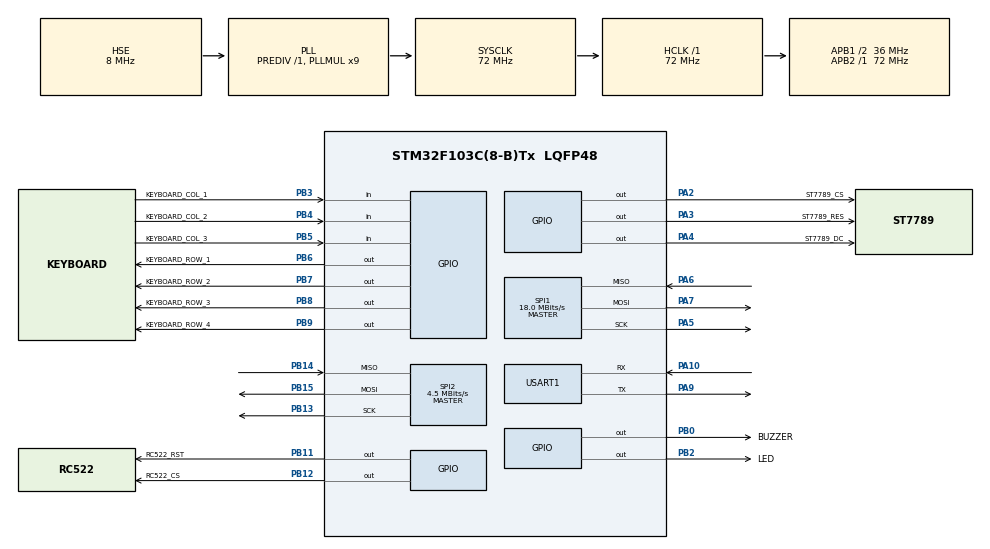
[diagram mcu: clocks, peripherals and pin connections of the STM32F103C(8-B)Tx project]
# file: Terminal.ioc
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FREERTOS.Tasks01=defaultTask,24,128,StartDefaultTask,Default,NULL,Dynamic,NULL,NULL
FREERTOS.configUSE_NEWLIB_REENTRANT=1
Mcu.Family=STM32F1
Mcu.Name=STM32F103C(8-B)Tx
Mcu.Package=LQFP48
NVIC.PriorityGroup=NVIC_PRIORITYGROUP_4
NVIC.TIM4_IRQn=true\:15\:0\:false\:false\:true\:false\:false\:true\:true
NVIC.TimeBase=TIM4_IRQn
NVIC.TimeBaseIP=TIM4
PA10.Mode=Asynchronous
PA10.Signal=USART1_RX
PA13.Mode=Serial_Wire
PA13.Signal=SYS_JTMS-SWDIO
PA14.Mode=Serial_Wire
PA14.Signal=SYS_JTCK-SWCLK
PA2.GPIO_Label=ST7789_CS
PA2.Signal=GPIO_Output
PA3.GPIO_Label=ST7789_RES
PA3.Signal=GPIO_Output
PA4.GPIO_Label=ST7789_DC
PA4.Signal=GPIO_Output
PA5.Mode=Full_Duplex_Master
PA5.Signal=SPI1_SCK
PA6.Mode=Full_Duplex_Master
PA6.Signal=SPI1_MISO
PA7.Mode=Full_Duplex_Master
PA7.Signal=SPI1_MOSI
PA9.Mode=Asynchronous
PA9.Signal=USART1_TX
PB0.GPIO_Label=BUZZER
PB0.GPIO_PuPd=GPIO_PULLDOWN
PB0.Signal=GPIO_Output
PB11.GPIO_Label=RC522_RST
PB11.Signal=GPIO_Output
PB12.GPIO_Label=RC522_CS
PB12.Signal=GPIO_Output
PB13.Mode=Full_Duplex_Master
PB13.Signal=SPI2_SCK
PB14.Mode=Full_Duplex_Master
PB14.Signal=SPI2_MISO
PB15.Mode=Full_Duplex_Master
PB15.Signal=SPI2_MOSI
PB2.GPIO_Label=LED
PB2.Signal=GPIO_Output
PB3.GPIO_Label=KEYBOARD_COL_1
PB3.GPIO_PuPd=GPIO_PULLDOWN
PB3.Signal=GPIO_Input
PB4.GPIO_Label=KEYBOARD_COL_2
PB4.GPIO_PuPd=GPIO_PULLDOWN
PB4.Signal=GPIO_Input
PB5.GPIO_Label=KEYBOARD_COL_3
PB5.GPIO_PuPd=GPIO_PULLDOWN
PB5.Signal=GPIO_Input
PB6.GPIO_Label=KEYBOARD_ROW_1
PB6.Signal=GPIO_Output
PB7.GPIO_Label=KEYBOARD_ROW_2
PB7.Signal=GPIO_Output
PB8.GPIO_Label=KEYBOARD_ROW_3
PB8.Signal=GPIO_Output
PB9.GPIO_Label=KEYBOARD_ROW_4
PB9.Signal=GPIO_Output
PD0-OSC_IN.Mode=HSE-External-Oscillator
PD0-OSC_IN.Signal=RCC_OSC_IN
PD1-OSC_OUT.Mode=HSE-External-Oscillator
PD1-OSC_OUT.Signal=RCC_OSC_OUT
ProjectManager.HeapSize=0x200
ProjectManager.StackSize=0x400
ProjectManager.TargetToolchain=STM32CubeIDE
RCC.AHBFreq_Value=72000000
RCC.APB1CLKDivider=RCC_HCLK_DIV2
RCC.APB1Freq_Value=36000000
RCC.APB1TimFreq_Value=72000000
RCC.APB2Freq_Value=72000000
RCC.APB2TimFreq_Value=72000000
RCC.HCLKFreq_Value=72000000
RCC.PLLMUL=RCC_PLL_MUL9
RCC.PLLSourceVirtual=RCC_PLLSOURCE_HSE
RCC.SYSCLKFreq_VALUE=72000000
RCC.SYSCLKSource=RCC_SYSCLKSOURCE_PLLCLK
RCC.USBFreq_Value=72000000
SPI1.BaudRatePrescaler=SPI_BAUDRATEPRESCALER_4
SPI1.CalculateBaudRate=18.0 MBits/s
SPI1.Direction=SPI_DIRECTION_2LINES
SPI1.Mode=SPI_MODE_MASTER
SPI1.VirtualType=VM_MASTER
SPI2.BaudRatePrescaler=SPI_BAUDRATEPRESCALER_8
SPI2.CalculateBaudRate=4.5 MBits/s
SPI2.Direction=SPI_DIRECTION_2LINES
SPI2.Mode=SPI_MODE_MASTER
SPI2.VirtualType=VM_MASTER
USART1.VirtualMode=VM_ASYNC
VP_FREERTOS_VS_CMSIS_V2.Mode=CMSIS_V2
VP_SYS_VS_tim4.Mode=TIM4
board=custom

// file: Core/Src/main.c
/* USER CODE BEGIN Header */
/**
  ******************************************************************************
  * @file           : main.c
  * @brief          : Main program body
  ******************************************************************************
  * @attention
  *
  * Copyright (c) 2026 STMicroelectronics.
  * All rights reserved.
  *
  * This software is licensed under terms that can be found in the LICENSE file
  * in the root directory of this software component.
  * If no LICENSE file comes with this software, it is provided AS-IS.
  *
  ******************************************************************************
  */
/* USER CODE END Header */
#include "main.h"
#include "cmsis_os.h"

/* USER CODE BEGIN Includes */
#include "Terminal.h"
/* USER CODE END Includes */

SPI_HandleTypeDef hspi1;
SPI_HandleTypeDef hspi2;

UART_HandleTypeDef huart1;

/* Definitions for defaultTask */
osThreadId_t defaultTaskHandle;
const osThreadAttr_t defaultTask_attributes = {
  .name = "defaultTask",
  .stack_size = 128 * 4,
  .priority = (osPriority_t) osPriorityNormal,
};

void SystemClock_Config(void);
static void MX_GPIO_Init(void);
static void MX_SPI1_Init(void);
static void MX_USART1_UART_Init(void);
static void MX_SPI2_Init(void);
void StartDefaultTask(void *argument);

/* USER CODE BEGIN 0 */

//-----Variables-----
MatrixKeyboard_st key = {0};
RC522_st          rc522Main = {0};
ST7789_st         display = {0};
MicroGFX_st       gfxDisplay = {0};
LED_st            buzzer = {0};

ModuleBuzzer_st    moduleBuzzer = {0};
ModuleKeyboard_st  moduleKeyboard = {0};
ModuleDisplay_st   moduleDisplay = {0};
ModuleRFID_st      moduleRFID = {0};

Terminal_st terminal = {0};
//-----Variables-----

//-----Function prototypes-----
//-----RC522-----
void SPI_Transmit_RC522(RC522_st* rc522, uint8_t* txBuf, size_t size);
void SPI_Receive_RC522(RC522_st* rc522, uint8_t* rxBuf, size_t size);
void SPI_ChipSelect_RC522(RC522_st* rc522, uint8_t level);
void CardEvent_Callback_RC522(RC522_st* rc522, RC522_CardEvent_et event);
//-----RC522-----

//-----ST7789-----
void SPI_Transmit_ST7789(ST7789_st* st7789, uint8_t* data, size_t size);
void SPI_ChipSelect_ST7789(ST7789_st* st7789, uint8_t level);
void SelectDataCommand_ST7789(ST7789_st* st7789, uint8_t level);
//-----ST7789-----

//-----MicroGFX-----
void MicroGFX_SetPixel_Display(MicroGFX_st* gfx, uint16_t x, uint16_t y, uint16_t color);
void MicroGFX_SetPixelArray_Display(MicroGFX_st* gfx, uint16_t x, uint16_t y, uint16_t w, uint16_t h, uint16_t* color, uint8_t singleFlag);
//-----MicroGFX-----

//-----Keyboard-----
void MatrixKeyboardSetRowState3x4(MatrixKeyboard_st* keyboard, uint8_t row, uint8_t state);
uint8_t MatrixKeyboardGetColState3x4(MatrixKeyboard_st* keyboard, uint8_t col);
void MatrixKeyboardEventCallback3x4(MatrixKeyboard_st* keyboard, MatrixKeyboardEvent_et event, uint8_t button);
//-----Keyboard-----

//-----Buzzer-----
void SetState_Buzzer(LED_st* led, LedState_et state);
void IndicationIsOverCallbackBuzzer(LED_st* led, LedIndications_et indication, uint8_t repeatCounter);
//-----Buzzer-----
//-----Function prototypes-----

//-----Descriptors-----
//-----RC522-----
RC522_Descriptor_st RC522Descriptor = {
		.getTick = HAL_GetTick,
		.spiChipSelect = SPI_ChipSelect_RC522,
		.spiTransmit = SPI_Transmit_RC522,
		.spiReceive = SPI_Receive_RC522,
		.eventCallback = CardEvent_Callback_RC522,
};
//-----RC522-----

//-----ST7789-----
ST7789_Descriptor_st displayDescriptor = {
    .spiTransmit = SPI_Transmit_ST7789,
    .spiChipSelect = SPI_ChipSelect_ST7789,
    .selectDataCommand = SelectDataCommand_ST7789,
    .width = 240,
    .height = 280,
};
//-----ST7789-----

//-----MicroGFX-----
MicroGFX_Descriptor_st gfxDisplayDescriptor = {
		.setPixel = MicroGFX_SetPixel_Display,
		.setPixelArray = MicroGFX_SetPixelArray_Display,
		.height = 280,
		.width = 240
};
//-----MicroGFX-----

//-----Keyboard-----
static MatrixKeyboardDescriptor_st keyUserFunctions = {
		.getColState = MatrixKeyboardGetColState3x4,
		.setRowState = MatrixKeyboardSetRowState3x4,
		.eventCallback = MatrixKeyboardEventCallback3x4,
		.cols = 3,
		.rows = 4
};
//-----Keyboard-----

//-----Buzzer-----
LedUserFunctions_st buzzerUserFunctions = {
		.setState = SetState_Buzzer,
		.getTick = HAL_GetTick,
		.indicationIsOverCallback = IndicationIsOverCallbackBuzzer
};
//-----Buzzer-----
//-----Descriptors-----

//-----Function definitions-----
//-----RC522-----
void SPI_Transmit_RC522(RC522_st* rc522, uint8_t* txBuf, size_t size){
	HAL_SPI_Transmit(&hspi2, txBuf, size, 5000);
}
void SPI_Receive_RC522(RC522_st* rc522, uint8_t* rxBuf, size_t size){
	HAL_SPI_Receive(&hspi2, rxBuf, size, 5000);
}
void SPI_ChipSelect_RC522(RC522_st* rc522, uint8_t level){
	HAL_GPIO_WritePin(RC522_CS_GPIO_Port, RC522_CS_Pin, level);
}
//-----RC522-----

//-----ST7789-----
void SPI_Transmit_ST7789(ST7789_st* st7789, uint8_t* data, size_t size){
  HAL_SPI_Transmit(&hspi1, data, size, 5000);
}
void SPI_ChipSelect_ST7789(ST7789_st* st7789, uint8_t level){
  HAL_GPIO_WritePin(ST7789_CS_GPIO_Port, ST7789_CS_Pin, level);
}
void SelectDataCommand_ST7789(ST7789_st* st7789, uint8_t level){
  HAL_GPIO_WritePin(ST7789_DC_GPIO_Port, ST7789_DC_Pin, level);
}
//-----ST7789-----

//-----MicroGFX-----
void MicroGFX_SetPixel_Display(MicroGFX_st* gfx, uint16_t x, uint16_t y, uint16_t color){
	if(gfx == &gfxDisplay){
		ST7789_SetPixel(&display, x, y, color);
	}
}

void MicroGFX_SetPixelArray_Display(MicroGFX_st* gfx, uint16_t x, uint16_t y, uint16_t w, uint16_t h, uint16_t* color, uint8_t singleFlag){
	if(gfx == &gfxDisplay){
		ST7789_SetPixelArray(&display, x, y, w, h, color, singleFlag);
	}
}
//-----MicroGFX-----

//-----Keyboard-----
void MatrixKeyboardSetRowState3x4(MatrixKeyboard_st* keyboard, uint8_t row, uint8_t state){
	if(row == 0){
		HAL_GPIO_WritePin(KEYBOARD_ROW_1_GPIO_Port, KEYBOARD_ROW_1_Pin, state);
	}
	else if(row == 1){
		HAL_GPIO_WritePin(KEYBOARD_ROW_2_GPIO_Port, KEYBOARD_ROW_2_Pin, state);
	}
	else if(row == 2){
		HAL_GPIO_WritePin(KEYBOARD_ROW_3_GPIO_Port, KEYBOARD_ROW_3_Pin, state);
	}
	else if(row == 3){
		HAL_GPIO_WritePin(KEYBOARD_ROW_4_GPIO_Port, KEYBOARD_ROW_4_Pin, state);
	}
}

uint8_t MatrixKeyboardGetColState3x4(MatrixKeyboard_st* keyboard, uint8_t col){
	if(col == 0){
		return HAL_GPIO_ReadPin(KEYBOARD_COL_1_GPIO_Port, KEYBOARD_COL_1_Pin);
	}
	else if(col == 1){
		return HAL_GPIO_ReadPin(KEYBOARD_COL_2_GPIO_Port, KEYBOARD_COL_2_Pin);
	}
	else if(col == 2){
		return HAL_GPIO_ReadPin(KEYBOARD_COL_3_GPIO_Port, KEYBOARD_COL_3_Pin);
	}

	return 0;
}
//-----Keyboard-----

//-----Buzzer-----
void SetState_Buzzer(LED_st* led, LedState_et state){
	if(led == &buzzer){
		if(state == LED_STATE_ON) HAL_GPIO_WritePin(BUZZER_GPIO_Port, BUZZER_Pin, GPIO_PIN_RESET);
		else                      HAL_GPIO_WritePin(BUZZER_GPIO_Port, BUZZER_Pin, GPIO_PIN_SET);
	}
}
//-----Buzzer-----
//-----Function definitions-----

//-----Callbacks-----
void MatrixKeyboardEventCallback3x4(MatrixKeyboard_st* keyboard, MatrixKeyboardEvent_et event, uint8_t button){
	if(event == MATRIX_KEYBOARD_EVENT_PRESS){
		ModuleKeyboard_Click(&moduleKeyboard, button);
	}
}

void CardEvent_Callback_RC522(RC522_st* rc522, RC522_CardEvent_et event){
	if(event == RC522_CARD_DETECTED){
		ModuleRFID_CardDetected(&moduleRFID);

		HAL_GPIO_WritePin(LED_GPIO_Port, LED_Pin, GPIO_PIN_SET);
	}
	else if(event == RC522_CARD_REMOVED){
		ModuleRFID_CardRemoved(&moduleRFID);

		HAL_GPIO_WritePin(LED_GPIO_Port, LED_Pin, GPIO_PIN_RESET);
	}
}

void IndicationIsOverCallbackBuzzer(LED_st* led, LedIndications_et indication, uint8_t repeatCounter){
	ModuleBuzzer_IndicationIsOver(&moduleBuzzer, indication, repeatCounter);
}
/* USER CODE END 0 */

int main(void)
{

  /* MCU Configuration--------------------------------------------------------*/

  /* Reset of all peripherals, Initializes the Flash interface and the Systick. */
  HAL_Init();

  /* Configure the system clock */
  SystemClock_Config();

  /* Initialize all configured peripherals */
  MX_GPIO_Init();
  MX_SPI1_Init();
  MX_USART1_UART_Init();
  MX_SPI2_Init();
  /* USER CODE BEGIN 2 */
  HAL_GPIO_WritePin(RC522_RST_GPIO_Port, RC522_RST_Pin, 0);
  HAL_Delay(50);
  HAL_GPIO_WritePin(RC522_RST_GPIO_Port, RC522_RST_Pin, 1);
  HAL_Delay(50);

  HAL_GPIO_WritePin(ST7789_RES_GPIO_Port, ST7789_RES_Pin, GPIO_PIN_RESET);
  HAL_Delay(20);
  HAL_GPIO_WritePin(ST7789_RES_GPIO_Port, ST7789_RES_Pin, GPIO_PIN_SET);
  HAL_Delay(20);

  MatrixKeyboard_Init(&key, &keyUserFunctions);
  LED_Init(&buzzer, &buzzerUserFunctions);
  RC522_Init(&rc522Main, &RC522Descriptor);

  ST7789_Init(&display, &displayDescriptor);
  ST7789_SetOffsetY(&display, 20);
  ST7789_SetRotation(&display, ST7789_ROTATION_VERTICAL_180);
  ST7789_FillScreen(&display, BLACK_RGB565);

  MicroGFX_Init(&gfxDisplay, &gfxDisplayDescriptor);
  MicroGFX_FillScreen(&gfxDisplay, WHITE_RGB565);

  ModuleBuzzer_Init(&moduleBuzzer, &buzzer);
  ModuleKeyboard_Init(&moduleKeyboard, &key);
  ModuleRFID_Init(&moduleRFID, &rc522Main);
  ModuleDisplay_Init(&moduleDisplay, &display, &gfxDisplay);

  Terminal_Init(&terminal, &moduleBuzzer, &moduleDisplay, &moduleKeyboard, &moduleRFID);
  /* USER CODE END 2 */

  /* Init scheduler */
  osKernelInitialize();

  /* Create the thread(s) */
  /* creation of defaultTask */
  defaultTaskHandle = osThreadNew(StartDefaultTask, NULL, &defaultTask_attributes);

  /* Start scheduler */
  osKernelStart();

  /* We should never get here as control is now taken by the scheduler */

  /* Infinite loop */
  while (1)
  {

  }
}

void SystemClock_Config(void)
{
  RCC_OscInitTypeDef RCC_OscInitStruct = {0};
  RCC_ClkInitTypeDef RCC_ClkInitStruct = {0};

  /** Initializes the RCC Oscillators according to the specified parameters
  * in the RCC_OscInitTypeDef structure.
  */
  RCC_OscInitStruct.OscillatorType = RCC_OSCILLATORTYPE_HSE;
  RCC_OscInitStruct.HSEState = RCC_HSE_ON;
  RCC_OscInitStruct.HSEPredivValue = RCC_HSE_PREDIV_DIV1;
  RCC_OscInitStruct.HSIState = RCC_HSI_ON;
  RCC_OscInitStruct.PLL.PLLState = RCC_PLL_ON;
  RCC_OscInitStruct.PLL.PLLSource = RCC_PLLSOURCE_HSE;
  RCC_OscInitStruct.PLL.PLLMUL = RCC_PLL_MUL9;
  if (HAL_RCC_OscConfig(&RCC_OscInitStruct) != HAL_OK)
  {
    Error_Handler();
  }

  /** Initializes the CPU, AHB and APB buses clocks
  */
  RCC_ClkInitStruct.ClockType = RCC_CLOCKTYPE_HCLK|RCC_CLOCKTYPE_SYSCLK
                              |RCC_CLOCKTYPE_PCLK1|RCC_CLOCKTYPE_PCLK2;
  RCC_ClkInitStruct.SYSCLKSource = RCC_SYSCLKSOURCE_PLLCLK;
  RCC_ClkInitStruct.AHBCLKDivider = RCC_SYSCLK_DIV1;
  RCC_ClkInitStruct.APB1CLKDivider = RCC_HCLK_DIV2;
  RCC_ClkInitStruct.APB2CLKDivider = RCC_HCLK_DIV1;

  if (HAL_RCC_ClockConfig(&RCC_ClkInitStruct, FLASH_LATENCY_2) != HAL_OK)
  {
    Error_Handler();
  }
}

static void MX_SPI1_Init(void)
{

  /* SPI1 parameter configuration*/
  hspi1.Instance = SPI1;
  hspi1.Init.Mode = SPI_MODE_MASTER;
  hspi1.Init.Direction = SPI_DIRECTION_2LINES;
  hspi1.Init.DataSize = SPI_DATASIZE_8BIT;
  hspi1.Init.CLKPolarity = SPI_POLARITY_LOW;
  hspi1.Init.CLKPhase = SPI_PHASE_1EDGE;
  hspi1.Init.NSS = SPI_NSS_SOFT;
  hspi1.Init.BaudRatePrescaler = SPI_BAUDRATEPRESCALER_4;
  hspi1.Init.FirstBit = SPI_FIRSTBIT_MSB;
  hspi1.Init.TIMode = SPI_TIMODE_DISABLE;
  hspi1.Init.CRCCalculation = SPI_CRCCALCULATION_DISABLE;
  hspi1.Init.CRCPolynomial = 10;
  if (HAL_SPI_Init(&hspi1) != HAL_OK)
  {
    Error_Handler();
  }

}

static void MX_SPI2_Init(void)
{

  /* SPI2 parameter configuration*/
  hspi2.Instance = SPI2;
  hspi2.Init.Mode = SPI_MODE_MASTER;
  hspi2.Init.Direction = SPI_DIRECTION_2LINES;
  hspi2.Init.DataSize = SPI_DATASIZE_8BIT;
  hspi2.Init.CLKPolarity = SPI_POLARITY_LOW;
  hspi2.Init.CLKPhase = SPI_PHASE_1EDGE;
  hspi2.Init.NSS = SPI_NSS_SOFT;
  hspi2.Init.BaudRatePrescaler = SPI_BAUDRATEPRESCALER_8;
  hspi2.Init.FirstBit = SPI_FIRSTBIT_MSB;
  hspi2.Init.TIMode = SPI_TIMODE_DISABLE;
  hspi2.Init.CRCCalculation = SPI_CRCCALCULATION_DISABLE;
  hspi2.Init.CRCPolynomial = 10;
  if (HAL_SPI_Init(&hspi2) != HAL_OK)
  {
    Error_Handler();
  }

}

static void MX_USART1_UART_Init(void)
{

  huart1.Instance = USART1;
  huart1.Init.BaudRate = 115200;
  huart1.Init.WordLength = UART_WORDLENGTH_8B;
  huart1.Init.StopBits = UART_STOPBITS_1;
  huart1.Init.Parity = UART_PARITY_NONE;
  huart1.Init.Mode = UART_MODE_TX_RX;
  huart1.Init.HwFlowCtl = UART_HWCONTROL_NONE;
  huart1.Init.OverSampling = UART_OVERSAMPLING_16;
  if (HAL_UART_Init(&huart1) != HAL_OK)
  {
    Error_Handler();
  }

}

static void MX_GPIO_Init(void)
{
  GPIO_InitTypeDef GPIO_InitStruct = {0};

  /* GPIO Ports Clock Enable */
  __HAL_RCC_GPIOD_CLK_ENABLE();
  __HAL_RCC_GPIOA_CLK_ENABLE();
  __HAL_RCC_GPIOB_CLK_ENABLE();

  /*Configure GPIO pin Output Level */
  HAL_GPIO_WritePin(GPIOA, ST7789_CS_Pin|ST7789_RES_Pin|ST7789_DC_Pin, GPIO_PIN_RESET);

  /*Configure GPIO pin Output Level */
  HAL_GPIO_WritePin(GPIOB, BUZZER_Pin|LED_Pin|RC522_RST_Pin|RC522_CS_Pin
                          |KEYBOARD_ROW_1_Pin|KEYBOARD_ROW_2_Pin|KEYBOARD_ROW_3_Pin|KEYBOARD_ROW_4_Pin, GPIO_PIN_RESET);

  /*Configure GPIO pins : ST7789_CS_Pin ST7789_RES_Pin ST7789_DC_Pin */
  GPIO_InitStruct.Pin = ST7789_CS_Pin|ST7789_RES_Pin|ST7789_DC_Pin;
  GPIO_InitStruct.Mode = GPIO_MODE_OUTPUT_PP;
  GPIO_InitStruct.Pull = GPIO_NOPULL;
  GPIO_InitStruct.Speed = GPIO_SPEED_FREQ_LOW;
  HAL_GPIO_Init(GPIOA, &GPIO_InitStruct);

  /*Configure GPIO pin : BUZZER_Pin */
  GPIO_InitStruct.Pin = BUZZER_Pin;
  GPIO_InitStruct.Mode = GPIO_MODE_OUTPUT_PP;
  GPIO_InitStruct.Pull = GPIO_PULLDOWN;
  GPIO_InitStruct.Speed = GPIO_SPEED_FREQ_LOW;
  HAL_GPIO_Init(BUZZER_GPIO_Port, &GPIO_InitStruct);

  /*Configure GPIO pins : LED_Pin RC522_RST_Pin RC522_CS_Pin KEYBOARD_ROW_1_Pin
                           KEYBOARD_ROW_2_Pin KEYBOARD_ROW_3_Pin KEYBOARD_ROW_4_Pin */
  GPIO_InitStruct.Pin = LED_Pin|RC522_RST_Pin|RC522_CS_Pin|KEYBOARD_ROW_1_Pin
                          |KEYBOARD_ROW_2_Pin|KEYBOARD_ROW_3_Pin|KEYBOARD_ROW_4_Pin;
  GPIO_InitStruct.Mode = GPIO_MODE_OUTPUT_PP;
  GPIO_InitStruct.Pull = GPIO_NOPULL;
  GPIO_InitStruct.Speed = GPIO_SPEED_FREQ_LOW;
  HAL_GPIO_Init(GPIOB, &GPIO_InitStruct);

  /*Configure GPIO pins : KEYBOARD_COL_1_Pin KEYBOARD_COL_2_Pin KEYBOARD_COL_3_Pin */
  GPIO_InitStruct.Pin = KEYBOARD_COL_1_Pin|KEYBOARD_COL_2_Pin|KEYBOARD_COL_3_Pin;
  GPIO_InitStruct.Mode = GPIO_MODE_INPUT;
  GPIO_InitStruct.Pull = GPIO_PULLDOWN;
  HAL_GPIO_Init(GPIOB, &GPIO_InitStruct);

}

void StartDefaultTask(void *argument)
{
  /* USER CODE BEGIN 5 */
  /* Infinite loop */
  for(;;)
  {
	  Terminal_Run(&terminal);

    osDelay(1);
  }
  /* USER CODE END 5 */
}

void HAL_TIM_PeriodElapsedCallback(TIM_HandleTypeDef *htim)
{
  if (htim->Instance == TIM4)
  {
    HAL_IncTick();
  }
}

void Error_Handler(void)
{
  __disable_irq();
  while (1)
  {
  }
}
